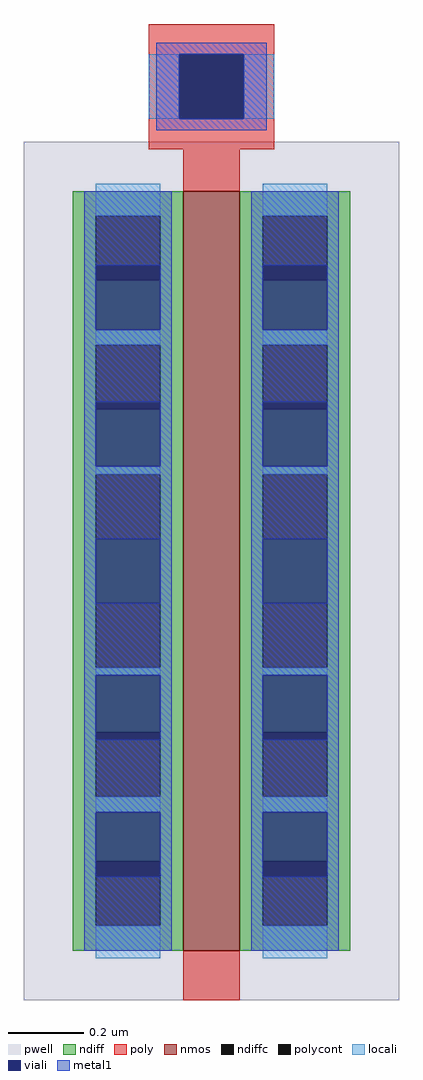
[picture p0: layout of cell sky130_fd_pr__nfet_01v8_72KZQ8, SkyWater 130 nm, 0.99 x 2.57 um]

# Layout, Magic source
magic
tech sky130B
magscale 1 2
<< pwell >>
rect -99 -257 99 195
<< nmos >>
rect -15 -231 15 169
<< ndiff >>
rect -73 156 -15 169
rect -73 122 -61 156
rect -27 122 -15 156
rect -73 88 -15 122
rect -73 54 -61 88
rect -27 54 -15 88
rect -73 20 -15 54
rect -73 -14 -61 20
rect -27 -14 -15 20
rect -73 -48 -15 -14
rect -73 -82 -61 -48
rect -27 -82 -15 -48
rect -73 -116 -15 -82
rect -73 -150 -61 -116
rect -27 -150 -15 -116
rect -73 -184 -15 -150
rect -73 -218 -61 -184
rect -27 -218 -15 -184
rect -73 -231 -15 -218
rect 15 156 73 169
rect 15 122 27 156
rect 61 122 73 156
rect 15 88 73 122
rect 15 54 27 88
rect 61 54 73 88
rect 15 20 73 54
rect 15 -14 27 20
rect 61 -14 73 20
rect 15 -48 73 -14
rect 15 -82 27 -48
rect 61 -82 73 -48
rect 15 -116 73 -82
rect 15 -150 27 -116
rect 61 -150 73 -116
rect 15 -184 73 -150
rect 15 -218 27 -184
rect 61 -218 73 -184
rect 15 -231 73 -218
<< ndiffc >>
rect -61 122 -27 156
rect -61 54 -27 88
rect -61 -14 -27 20
rect -61 -82 -27 -48
rect -61 -150 -27 -116
rect -61 -218 -27 -184
rect 27 122 61 156
rect 27 54 61 88
rect 27 -14 61 20
rect 27 -82 61 -48
rect 27 -150 61 -116
rect 27 -218 61 -184
<< poly >>
rect -33 241 33 257
rect -33 207 -17 241
rect 17 207 33 241
rect -33 191 33 207
rect -15 169 15 191
rect -15 -257 15 -231
<< polycont >>
rect -17 207 17 241
<< locali >>
rect -33 207 -17 241
rect 17 207 33 241
rect -61 156 -27 173
rect -61 88 -27 96
rect -61 20 -27 24
rect -61 -86 -27 -82
rect -61 -158 -27 -150
rect -61 -235 -27 -218
rect 27 156 61 173
rect 27 88 61 96
rect 27 20 61 24
rect 27 -86 61 -82
rect 27 -158 61 -150
rect 27 -235 61 -218
<< viali >>
rect -17 207 17 241
rect -61 122 -27 130
rect -61 96 -27 122
rect -61 54 -27 58
rect -61 24 -27 54
rect -61 -48 -27 -14
rect -61 -116 -27 -86
rect -61 -120 -27 -116
rect -61 -184 -27 -158
rect -61 -192 -27 -184
rect 27 122 61 130
rect 27 96 61 122
rect 27 54 61 58
rect 27 24 61 54
rect 27 -48 61 -14
rect 27 -116 61 -86
rect 27 -120 61 -116
rect 27 -184 61 -158
rect 27 -192 61 -184
<< metal1 >>
rect -29 241 29 247
rect -29 207 -17 241
rect 17 207 29 241
rect -29 201 29 207
rect -67 130 -21 169
rect -67 96 -61 130
rect -27 96 -21 130
rect -67 58 -21 96
rect -67 24 -61 58
rect -27 24 -21 58
rect -67 -14 -21 24
rect -67 -48 -61 -14
rect -27 -48 -21 -14
rect -67 -86 -21 -48
rect -67 -120 -61 -86
rect -27 -120 -21 -86
rect -67 -158 -21 -120
rect -67 -192 -61 -158
rect -27 -192 -21 -158
rect -67 -231 -21 -192
rect 21 130 67 169
rect 21 96 27 130
rect 61 96 67 130
rect 21 58 67 96
rect 21 24 27 58
rect 61 24 67 58
rect 21 -14 67 24
rect 21 -48 27 -14
rect 61 -48 67 -14
rect 21 -86 67 -48
rect 21 -120 27 -86
rect 61 -120 67 -86
rect 21 -158 67 -120
rect 21 -192 27 -158
rect 61 -192 67 -158
rect 21 -231 67 -192
<< end >>
